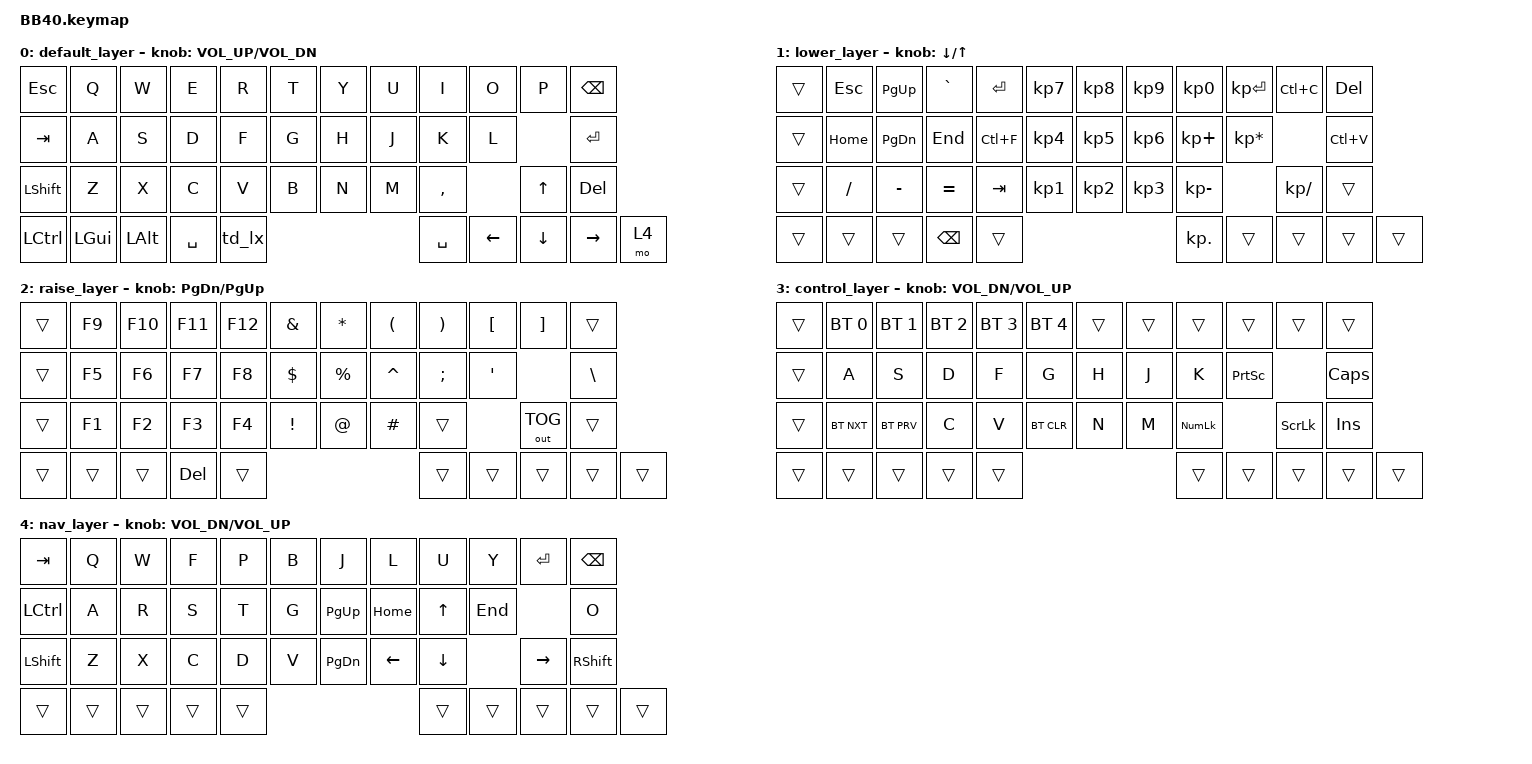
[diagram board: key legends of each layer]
/*
 * Copyright (c) 2022 The ZMK Contributors
 *
 * SPDX-License-Identifier: MIT
 */

#include <behaviors.dtsi>
#include <dt-bindings/zmk/keys.h>
#include <dt-bindings/zmk/bt.h>
#include <dt-bindings/zmk/outputs.h>

&encoder_1 {
    status = "okay";
};

#define DEFAULT 0
#define LOWER   1
#define RAISE   2
#define CONTROL 3
#define NAV     4

/ {
    behaviors {
        td_lx: tap_dance_layers {
            compatible = "zmk,behavior-tap-dance";
            label = "TAP_DANCE_LAYERS";
            #binding-cells = <0>;
            tapping-term-ms = <170>;
            bindings = <&mo 1>, <&mo 2>, <&mo 3>;
        };
        td_rx: tap_dance_layers_r {
            compatible = "zmk,behavior-tap-dance";
            label = "TAP_DANCE_LAYERS_RIGHT";
            #binding-cells = <0>;
            tapping-term-ms = <170>;
            bindings = <&mo 4>, <&mo 2>, <&mo 3>;
        };
    };
    sensors {
        compatible = "zmk,keymap-sensors";
        sensors = <&encoder_1>;
        triggers-per-rotation = <20>;
    };

	keymap {
		compatible = "zmk,keymap";
		
		default_layer {
			bindings = <
                &kp ESC    &kp Q     &kp W     &kp E     &kp R     &kp T      &kp Y     &kp U     &kp I       &kp O        &kp P     &kp BSPC
                &kp TAB  &kp A     &kp S     &kp D     &kp F     &kp G      &kp H     &kp J     &kp K       &kp L                      &kp ENTER
                &kp LSHFT  &kp Z     &kp X     &kp C     &kp V     &kp B      &kp N     &kp M     &kp COMMA                &kp UP       &kp DEL
                &kp LCTRL      &kp LGUI  &kp LALT  &kp SPACE           &td_lx               &kp SPACE             &kp LEFT     &kp DOWN        &kp RIGHT    &mo 4
			>;
            sensor-bindings = <&inc_dec_kp C_VOL_UP C_VOL_DN>;
		};

		lower_layer {
			bindings = <
                &trans     &kp ESC   &kp PG_UP &kp GRAVE &kp ENTER &kp KP_N7  &kp KP_N8 &kp KP_N9 &kp KP_N0   &kp KP_ENTER &kp LC(C)     &kp DEL
                &trans     &kp HOME  &kp PG_DN &kp END   &kp LC(F) &kp KP_N4  &kp KP_N5 &kp KP_N6 &kp KP_PLUS &kp KP_MULTIPLY            &kp LC(V)
                &trans     &kp FSLH  &kp MINUS &kp EQUAL &kp TAB   &kp KP_N1  &kp KP_N2 &kp KP_N3 &kp KP_MINUS             &kp KP_DIVIDE &trans
                &trans     &trans    &trans    &kp BSPC            &trans               &kp KP_DOT            &trans       &trans        &trans       &trans
			>;
            sensor-bindings = <&inc_dec_kp DOWN UP>;

		};
        
        raise_layer {
			bindings = <
                &trans     &kp F9    &kp F10   &kp F11   &kp F12   &kp AMPS   &kp STAR  &kp LPAR  &kp RPAR    &kp LBKT     &kp RBKT      &trans
                &trans     &kp F5    &kp F6    &kp F7    &kp F8    &kp DLLR   &kp PRCNT &kp CARET &kp SEMI    &kp APOS                   &kp BSLH
                &trans     &kp F1    &kp F2    &kp F3    &kp F4    &kp EXCL   &kp AT    &kp HASH  &trans                   &out OUT_TOG  &trans
                &trans     &trans    &trans    &kp DEL             &trans               &trans                &trans       &trans        &trans       &trans
			>;
            sensor-bindings = <&inc_dec_kp PG_DN PG_UP>;
		};
        
        control_layer {
			bindings = <
                &trans     &bt BT_SEL 0 &bt BT_SEL 1 &bt BT_SEL 2 &bt BT_SEL 3 &bt BT_SEL 4 &trans &trans &trans &trans    &trans        &trans
                &trans     &kp A      &kp S      &kp D     &kp F     &kp G      &kp H     &kp J     &kp K       &kp PSCRN                &kp CAPS
                &trans     &bt BT_NXT &bt BT_PRV &kp C     &kp V     &bt BT_CLR &kp N     &kp M     &kp KP_NLCK            &kp SLCK      &kp INS
                &trans     &trans    &trans    &trans              &trans               &trans                &trans       &trans        &trans       &trans
			>;
            sensor-bindings = <&inc_dec_kp C_VOL_DN C_VOL_UP>;
		};

        nav_layer {
			bindings = <
                &kp TAB    &kp Q     &kp W     &kp F     &kp P     &kp B      &kp J     &kp L     &kp U       &kp Y        &kp ENTER     &kp BSPC
                &kp LCTRL  &kp A     &kp R     &kp S     &kp T     &kp G      &kp PG_UP &kp HOME  &kp UP      &kp END                    &kp O
                &kp LSHFT  &kp Z     &kp X     &kp C     &kp D     &kp V      &kp PG_DN &kp LEFT  &kp DOWN                &kp RIGHT     &kp RSHFT
                &trans     &trans    &trans    &trans              &trans               &trans                &trans       &trans        &trans       &trans
			>;
            sensor-bindings = <&inc_dec_kp C_VOL_DN C_VOL_UP>;
		};
	};
};
